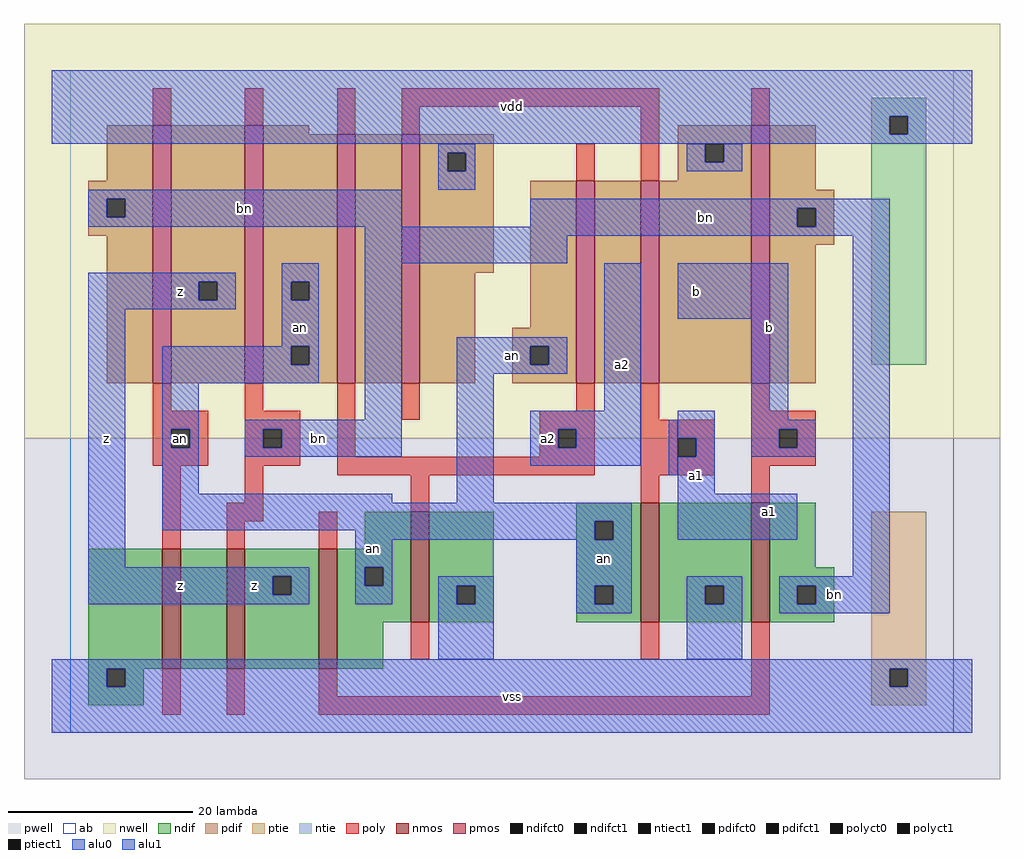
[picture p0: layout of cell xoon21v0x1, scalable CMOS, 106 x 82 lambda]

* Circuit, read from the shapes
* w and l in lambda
.subckt xoon21v0x1 a1 a2 an b bn vdd vss z
M1 n1 an vss vss nfet w=13 l=2
M2 z bn n1 vss nfet w=13 l=2
M3 an b z vss nfet w=13 l=2
M4 vss a2 an vss nfet w=12 l=2
M5 vss a1 an vss nfet w=13 l=2
M6 bn b vss vss nfet w=13 l=2
M7 z an bn vdd pfet w=28 l=2
M8 an bn z vdd pfet w=28 l=2
M9 n2 a2 an vdd pfet w=27 l=2
M10 vdd a1 n2 vdd pfet w=27 l=2
M11 n3 a2 an vdd pfet w=22 l=2
M12 vdd a1 n3 vdd pfet w=22 l=2
M13 bn b vdd vdd pfet w=28 l=2
.ends

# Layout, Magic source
magic
tech scmos
<< ab >>
rect 0 0 96 72
<< nwell >>
rect -5 32 101 77
<< pwell >>
rect -5 -5 101 32
<< poly >>
rect 9 66 11 70
rect 19 66 21 70
rect 29 65 31 70
rect 36 68 64 70
rect 36 65 38 68
rect 55 60 57 64
rect 62 60 64 68
rect 74 66 76 70
rect 9 35 11 38
rect 19 35 21 38
rect 9 33 15 35
rect 9 31 11 33
rect 13 31 15 33
rect 9 29 15 31
rect 19 33 25 35
rect 19 31 21 33
rect 23 31 25 33
rect 19 29 25 31
rect 29 30 31 38
rect 36 34 38 38
rect 55 35 57 38
rect 51 33 57 35
rect 51 31 53 33
rect 55 31 57 33
rect 51 30 57 31
rect 10 20 12 29
rect 19 25 21 29
rect 29 28 57 30
rect 62 34 64 38
rect 74 35 76 38
rect 62 32 70 34
rect 62 30 66 32
rect 68 30 70 32
rect 62 28 70 30
rect 74 33 81 35
rect 74 31 77 33
rect 79 31 81 33
rect 74 29 81 31
rect 17 23 21 25
rect 37 24 39 28
rect 62 25 64 28
rect 74 25 76 29
rect 17 20 19 23
rect 27 20 29 24
rect 37 8 39 12
rect 62 8 64 12
rect 10 2 12 7
rect 17 2 19 7
rect 27 4 29 7
rect 74 4 76 12
rect 27 2 76 4
<< ndif >>
rect 32 20 37 24
rect 2 7 10 20
rect 12 7 17 20
rect 19 17 27 20
rect 19 15 22 17
rect 24 15 27 17
rect 19 7 27 15
rect 29 18 37 20
rect 29 16 32 18
rect 34 16 37 18
rect 29 12 37 16
rect 39 16 46 24
rect 39 14 42 16
rect 44 14 46 16
rect 39 12 46 14
rect 55 23 62 25
rect 55 21 57 23
rect 59 21 62 23
rect 55 16 62 21
rect 55 14 57 16
rect 59 14 62 16
rect 55 12 62 14
rect 64 16 74 25
rect 64 14 69 16
rect 71 14 74 16
rect 64 12 74 14
rect 76 18 81 25
rect 76 16 83 18
rect 76 14 79 16
rect 81 14 83 16
rect 76 12 83 14
rect 29 7 34 12
rect 2 5 4 7
rect 6 5 8 7
rect 2 3 8 5
<< pdif >>
rect 4 60 9 66
rect 2 58 9 60
rect 2 56 4 58
rect 6 56 9 58
rect 2 54 9 56
rect 4 38 9 54
rect 11 49 19 66
rect 11 47 14 49
rect 16 47 19 49
rect 11 38 19 47
rect 21 65 26 66
rect 21 49 29 65
rect 21 47 24 49
rect 26 47 29 49
rect 21 42 29 47
rect 21 40 24 42
rect 26 40 29 42
rect 21 38 29 40
rect 31 38 36 65
rect 38 63 46 65
rect 38 61 41 63
rect 43 61 46 63
rect 38 50 46 61
rect 66 64 74 66
rect 66 62 69 64
rect 71 62 74 64
rect 66 60 74 62
rect 38 38 44 50
rect 50 44 55 60
rect 48 42 55 44
rect 48 40 50 42
rect 52 40 55 42
rect 48 38 55 40
rect 57 38 62 60
rect 64 38 74 60
rect 76 59 81 66
rect 76 57 83 59
rect 76 55 79 57
rect 81 55 83 57
rect 76 53 83 55
rect 76 38 81 53
<< alu1 >>
rect -2 67 98 72
rect -2 65 89 67
rect 91 65 98 67
rect -2 64 98 65
rect 2 49 18 50
rect 2 47 14 49
rect 16 47 18 49
rect 2 46 18 47
rect 2 18 6 46
rect 58 35 62 51
rect 66 45 78 51
rect 50 33 62 35
rect 50 31 53 33
rect 55 31 62 33
rect 50 29 62 31
rect 66 32 70 35
rect 68 30 70 32
rect 74 34 78 45
rect 74 33 81 34
rect 74 31 77 33
rect 79 31 81 33
rect 74 30 81 31
rect 66 26 70 30
rect 66 21 79 26
rect 2 17 26 18
rect 2 15 22 17
rect 24 15 26 17
rect 2 14 26 15
rect -2 7 98 8
rect -2 5 4 7
rect 6 5 89 7
rect 91 5 98 7
rect -2 0 98 5
<< ptie >>
rect 87 7 93 24
rect 87 5 89 7
rect 91 5 93 7
rect 87 3 93 5
<< ntie >>
rect 87 67 93 69
rect 87 65 89 67
rect 91 65 93 67
rect 87 40 93 65
<< nmos >>
rect 10 7 12 20
rect 17 7 19 20
rect 27 7 29 20
rect 37 12 39 24
rect 62 12 64 25
rect 74 12 76 25
<< pmos >>
rect 9 38 11 66
rect 19 38 21 66
rect 29 38 31 65
rect 36 38 38 65
rect 55 38 57 60
rect 62 38 64 60
rect 74 38 76 66
<< polyct0 >>
rect 11 31 13 33
rect 21 31 23 33
<< polyct1 >>
rect 53 31 55 33
rect 66 30 68 32
rect 77 31 79 33
<< ndifct0 >>
rect 32 16 34 18
rect 42 14 44 16
rect 57 21 59 23
rect 57 14 59 16
rect 69 14 71 16
rect 79 14 81 16
<< ndifct1 >>
rect 22 15 24 17
rect 4 5 6 7
<< ntiect1 >>
rect 89 65 91 67
<< ptiect1 >>
rect 89 5 91 7
<< pdifct0 >>
rect 4 56 6 58
rect 24 47 26 49
rect 24 40 26 42
rect 41 61 43 63
rect 69 62 71 64
rect 50 40 52 42
rect 79 55 81 57
<< pdifct1 >>
rect 14 47 16 49
<< alu0 >>
rect 40 63 44 64
rect 40 61 41 63
rect 43 61 44 63
rect 67 62 69 64
rect 71 62 73 64
rect 67 61 73 62
rect 40 59 44 61
rect 2 58 36 59
rect 2 56 4 58
rect 6 56 36 58
rect 2 55 36 56
rect 50 57 89 58
rect 50 55 79 57
rect 81 55 89 57
rect 32 54 89 55
rect 32 51 54 54
rect 23 49 27 51
rect 23 47 24 49
rect 26 47 27 49
rect 23 42 27 47
rect 10 40 24 42
rect 26 40 27 42
rect 10 38 27 40
rect 10 33 14 38
rect 32 34 36 51
rect 10 31 11 33
rect 13 31 14 33
rect 10 26 14 31
rect 19 33 36 34
rect 19 31 21 33
rect 23 31 36 33
rect 19 30 36 31
rect 42 42 54 43
rect 42 40 50 42
rect 52 40 54 42
rect 42 39 54 40
rect 10 25 35 26
rect 42 25 46 39
rect 65 28 66 34
rect 10 23 61 25
rect 10 22 57 23
rect 31 21 57 22
rect 59 21 61 23
rect 31 18 35 21
rect 31 16 32 18
rect 34 16 35 18
rect 31 14 35 16
rect 40 16 46 17
rect 40 14 42 16
rect 44 14 46 16
rect 40 8 46 14
rect 55 16 61 21
rect 85 17 89 54
rect 55 14 57 16
rect 59 14 61 16
rect 55 13 61 14
rect 67 16 73 17
rect 67 14 69 16
rect 71 14 73 16
rect 67 8 73 14
rect 77 16 89 17
rect 77 14 79 16
rect 81 14 89 16
rect 77 13 89 14
<< labels >>
rlabel polyct0 12 32 12 32 6 an
rlabel alu0 33 20 33 20 6 an
rlabel alu0 27 32 27 32 6 bn
rlabel alu0 25 44 25 44 6 an
rlabel alu0 19 57 19 57 6 bn
rlabel alu0 58 19 58 19 6 an
rlabel alu0 48 41 48 41 6 an
rlabel alu0 83 15 83 15 6 bn
rlabel alu0 69 56 69 56 6 bn
rlabel alu1 12 16 12 16 6 z
rlabel alu1 20 16 20 16 6 z
rlabel alu1 4 32 4 32 6 z
rlabel alu1 12 48 12 48 6 z
rlabel alu1 48 4 48 4 6 vss
rlabel alu1 52 32 52 32 6 a2
rlabel alu1 68 28 68 28 6 a1
rlabel alu1 60 40 60 40 6 a2
rlabel alu1 68 48 68 48 6 b
rlabel alu1 48 68 48 68 6 vdd
rlabel alu1 76 24 76 24 6 a1
rlabel alu1 76 44 76 44 6 b
<< end >>
